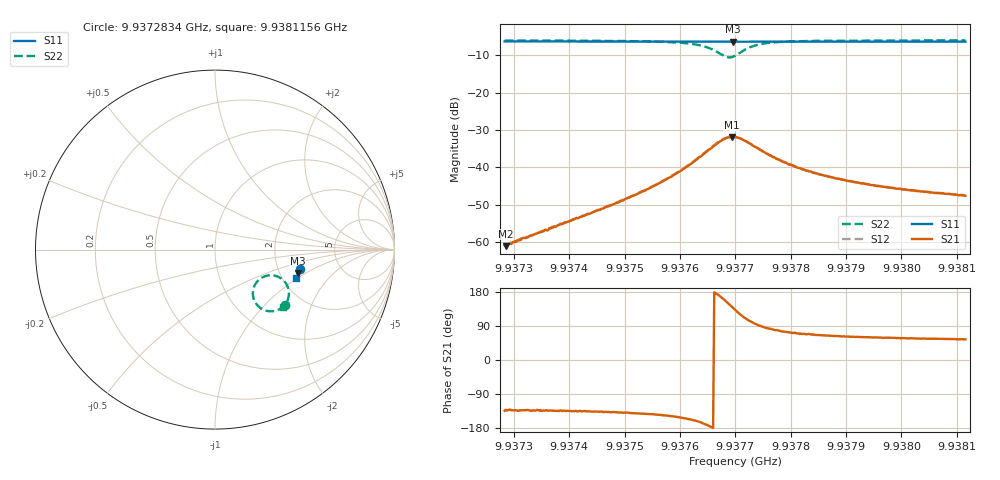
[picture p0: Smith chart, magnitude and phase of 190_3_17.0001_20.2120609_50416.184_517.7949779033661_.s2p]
#  HZ  S  RI  R  50.00
! Rohde & Schwarz Vector Network Analyzer
! Rohde-Schwarz,ZNB20-2Port,1311601062101988,3.16
! Created: UTC 3/20/2024, 11:00:38 PM
! freq[Hz]  re:S11  im:S11  re:S21  im:S21  re:S12  im:S12  re:S22  im:S22
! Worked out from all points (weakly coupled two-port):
!   401 points, 9.9372834 GHz to 9.9381156 GHz, reference 50 ohm
!   highest |S21| = -31.88 dB at 9.9376933 GHz (marker M1); lowest = -61.1 dB at 9.9372855 GHz (marker M2)
!   lowest |S11| = -6.4 dB at 9.9376954 GHz (marker M3), VSWR 2.84, Z = 125 - j42.5 ohm
!   |S11| at or under -10 dB: nowhere
!   |S22| runs from -10.6 to -6.0 dB; largest |S21 - S12| = 0.0011
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9.93728343e9  0.472 -0.1055  -0.000619 -0.000647  -0.000604 -0.000633  0.3898 -0.3094
9.93728551e9  0.4718 -0.1055  -0.000578 -0.00066  -0.000632 -0.000662  0.3897 -0.3097
9.93742282e9  0.4691 -0.1149  -0.00156 -0.00151  -0.00158 -0.00158  0.3748 -0.3224
9.93750396e9  0.4672 -0.1205  -0.00287 -0.00251  -0.00293 -0.00244  0.359 -0.332
9.93756222e9  0.4657 -0.1244  -0.00498 -0.00349  -0.00513 -0.00349  0.3383 -0.3403
9.93760383e9  0.4646 -0.1271  -0.00815 -0.00427  -0.00837 -0.00418  0.3095 -0.3437
9.93764544e9  0.4628 -0.13  -0.0154 -0.00277  -0.0156 -0.00266  0.2525 -0.3251
9.93766e9  0.4618 -0.1307  -0.0189 -0.00028  -0.0194 0.000215  0.2266 -0.297
9.93767457e9  0.4611 -0.1311  -0.0218 0.00555  -0.0222 0.00647  0.2107 -0.2466
9.93768497e9  0.4608 -0.1311  -0.0219 0.0114  -0.0218 0.0124  0.2202 -0.2006
9.93769329e9  0.4609 -0.1311  -0.0199 0.0159  -0.0196 0.0169  0.2447 -0.1682
9.93769537e9  0.4606 -0.131  -0.0189 0.017  -0.0186 0.0179  0.2525 -0.162
9.93769953e9  0.4608 -0.131  -0.017 0.0186  -0.0167 0.0196  0.2699 -0.1519
9.93770786e9  0.4611 -0.1313  -0.0128 0.0208  -0.0122 0.0214  0.3064 -0.1432
9.93772242e9  0.4615 -0.1321  -0.00605 0.0206  -0.00537 0.021  0.3591 -0.1548
9.93774739e9  0.4617 -0.1339  0.000326 0.0167  0.000812 0.0168  0.4007 -0.1977
9.93777027e9  0.4616 -0.1359  0.00249 0.0133  0.0027 0.0131  0.4108 -0.2287
9.93779732e9  0.461 -0.1379  0.00316 0.0103  0.00339 0.0104  0.4115 -0.253
9.93783893e9  0.4601 -0.141  0.00319 0.00789  0.00351 0.00784  0.4073 -0.2753
9.93790134e9  0.4586 -0.1451  0.00307 0.00581  0.00323 0.00582  0.3993 -0.294
9.93797832e9  0.4567 -0.1503  0.0028 0.00455  0.0029 0.00452  0.3915 -0.3074
9.93811564e9  0.453 -0.1592  0.00241 0.00337  0.00248 0.00339  0.3801 -0.3224
